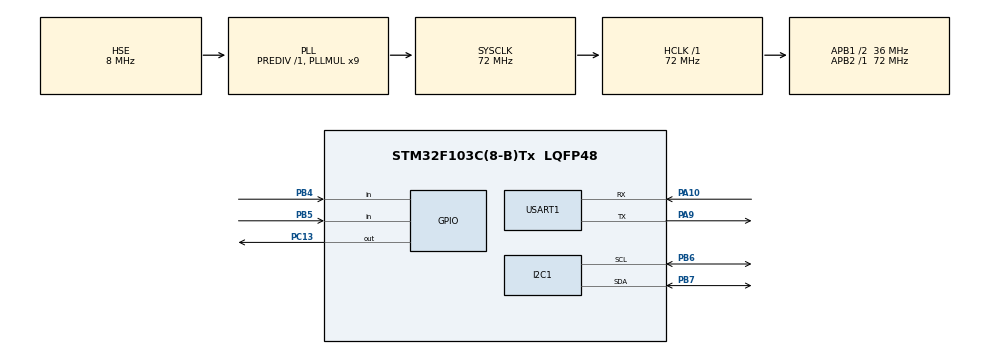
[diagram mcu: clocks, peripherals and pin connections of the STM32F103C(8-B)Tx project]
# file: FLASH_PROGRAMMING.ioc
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Mcu.Family=STM32F1
Mcu.Name=STM32F103C(8-B)Tx
Mcu.Package=LQFP48
NVIC.PriorityGroup=NVIC_PRIORITYGROUP_4
NVIC.USART1_IRQn=true\:0\:0\:false\:false\:true\:true\:true\:true
PA10.Mode=Asynchronous
PA10.Signal=USART1_RX
PA13.Mode=Serial_Wire
PA13.Signal=SYS_JTMS-SWDIO
PA14.Mode=Serial_Wire
PA14.Signal=SYS_JTCK-SWCLK
PA9.Mode=Asynchronous
PA9.Signal=USART1_TX
PB4.GPIO_PuPd=GPIO_PULLUP
PB4.Signal=GPIO_Input
PB5.GPIO_PuPd=GPIO_PULLUP
PB5.Signal=GPIO_Input
PB6.Mode=I2C
PB6.Signal=I2C1_SCL
PB7.Mode=I2C
PB7.Signal=I2C1_SDA
PC13-TAMPER-RTC.Signal=GPIO_Output
PD0-OSC_IN.Mode=HSE-External-Oscillator
PD0-OSC_IN.Signal=RCC_OSC_IN
PD1-OSC_OUT.Mode=HSE-External-Oscillator
PD1-OSC_OUT.Signal=RCC_OSC_OUT
ProjectManager.HeapSize=0x200
ProjectManager.StackSize=0x400
ProjectManager.TargetToolchain=STM32CubeIDE
RCC.AHBFreq_Value=72000000
RCC.APB1CLKDivider=RCC_HCLK_DIV2
RCC.APB1Freq_Value=36000000
RCC.APB1TimFreq_Value=72000000
RCC.APB2Freq_Value=72000000
RCC.APB2TimFreq_Value=72000000
RCC.HCLKFreq_Value=72000000
RCC.PLLMUL=RCC_PLL_MUL9
RCC.PLLSourceVirtual=RCC_PLLSOURCE_HSE
RCC.SYSCLKFreq_VALUE=72000000
RCC.SYSCLKSource=RCC_SYSCLKSOURCE_PLLCLK
RCC.USBFreq_Value=72000000
USART1.VirtualMode=VM_ASYNC
board=custom

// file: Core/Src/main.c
/* USER CODE BEGIN Header */
/**
  ******************************************************************************
  * @file           : main.c
  * @brief          : Main program body
  ******************************************************************************
  * @attention
  *
  * Copyright (c) 2023 STMicroelectronics.
  * All rights reserved.
  *
  * This software is licensed under terms that can be found in the LICENSE file
  * in the root directory of this software component.
  * If no LICENSE file comes with this software, it is provided AS-IS.
  *
  ******************************************************************************
  */
/* USER CODE END Header */
#include "main.h"

/* USER CODE BEGIN Includes */
#include <stdio.h>
#include "FLASH_PAGE_F1.h"
#include "quectelCommands.h"
#include "liquidcrystal_i2c.h"
#include "GEOtextLib.h"
#include <string.h>
#include <stdlib.h>
#include <terminalConfig.h>

#define STR_HELPER(x) #x
#define STR(x) STR_HELPER(x)

/* USER CODE END Includes */

I2C_HandleTypeDef hi2c1;

UART_HandleTypeDef huart1;

void SystemClock_Config(void);
static void MX_GPIO_Init(void);
static void MX_USART1_UART_Init(void);
static void MX_I2C1_Init(void);
/* USER CODE BEGIN PFP */
uint8_t flag = 0; // flag for operating fleshing used in UART callback
uint8_t data[bytesToRead]; // main data that need to be flehed
uint32_t Adress = address; // for address increment
uint32_t state; // for buttons
uint8_t updateChars[8]; // update char store
uint8_t MQTT_CHECK_DATA[180];
uint8_t MQTT_GOT_DATA[100];
uint8_t c; // this stores the input chars from uart to find start and the end of input data
void HAL_UART_RxCpltCallback(UART_HandleTypeDef *huart)
{

	if(flag == 0){
		if(c != '<'){
			HAL_UART_Receive_IT(&huart1, &c, 1);
		}
		else if(c == '<'){

			flag = 1;
		}

	}

}
/* USER CODE END PFP */

/* USER CODE BEGIN 0 */

uint32_t convertStringToHex(uint8_t* str) {
    uint32_t hexValue = 0;
    int i = 0;

    // Iterate over each character in the string
    while (i < 8) {
        hexValue <<= 4;  // Shift left by 4 bits

        // Convert character to hexadecimal digit
        if (str[i] >= '0' && str[i] <= '9') {
            hexValue |= (str[i] - '0');
        } else if (str[i] >= 'A' && str[i] <= 'F') {
            hexValue |= (str[i] - 'A' + 10);
        } else if (str[i] >= 'a' && str[i] <= 'f') {
            hexValue |= (str[i] - 'a' + 10);
        } else {
            // Invalid character, handle error
            //printf("Invalid character: %c\n", str[i]);
            return 0;
        }

        i++;
    }

    return hexValue;
}

char* convertNumberToCharArray(uint64_t number) {
    // Count the number of digits in the number
    uint64_t temp = number;
    int numDigits = 1;
    while (temp /= 10) {
        numDigits++;
    }

    // Allocate memory for the character array (+1 for null-terminator)
    char* buffer = (char*)malloc((numDigits + 1) * sizeof(char));
    if (buffer == NULL) {
        // Error in memory allocation
        return NULL;
    }

    // Convert each digit to its corresponding character representation
    int i = numDigits - 1;
    while (number != 0) {
        buffer[i--] = '0' + (number % 10);
        number /= 10;
    }

    buffer[numDigits] = '\0'; // Null-terminate the character array

    return buffer;
}

uint32_t convertIntToHex(int num) {
    uint32_t hexValue = 0;

    // Find the position of the leftmost non-zero bit
    int shift = 0;
    while ((num >> shift) > 0) {
        shift += 4;
    }
    shift -= 4;  // Adjust the shift value to the leftmost non-zero nibble

    // Iterate over each nibble in the integer
    while (shift >= 0) {
        hexValue |= ((num >> shift) & 0xF) << shift;  // Extract the nibble and shift it to the correct position
        shift -= 4;  // Move to the next nibble
    }

    return hexValue;
}

void fleshArray(uint8_t* array) { // takes 960 bytes of data and fleshes it at start address which is defined at start
        int count = 0;
        uint8_t data[8];
        uint32_t hexVal;
        uint32_t hexVals[4];

        int size = strlen((char*)array);

        memcpy(data, array, 8);
        hexVal = convertStringToHex(data);
        hexVals[count] = hexVal;
        count++;

    for (int i = 0; i < size; i++) {

        if((i+1) % 8 == 0){

            memcpy(data, array + (i+1), 8);
            hexVal = convertStringToHex(data);
            hexVals[count] = hexVal;

            count++;
            if(count >= 4){
                //for(int i = 0; i<4; i++) printf("%08X ", hexVals[i]);
            	Flash_Write_Data(Adress,hexVals, 4);

            	Adress+=16;
                count = 0;
            }
//
        }

    }

}

void jumpToAddress(uint32_t ADDRESSTOGO){
	  uint32_t addresstojump;

	  addresstojump = *((volatile uint32_t*)(ADDRESSTOGO + 4));
	  HAL_DeInit();
	  HAL_RCC_DeInit();
	  void (*GoToApp)(void);
	  GoToApp = (void (*) (void))addresstojump;
	  __disable_irq();
	  __set_MSP(*((volatile uint32_t*)ADDRESSTOGO));
	  GoToApp();
}

void led(uint8_t n) {
	for (uint8_t i = 0; i < n; i++) {
		HAL_GPIO_WritePin(GPIOC, GPIO_PIN_13, GPIO_PIN_RESET);    // LED1 ON
		HAL_Delay(100);
		HAL_GPIO_WritePin(GPIOC, GPIO_PIN_13, GPIO_PIN_SET);    // LED1 OFF
		HAL_Delay(100);
	}
}

void quectelInit(){
	  memset(data, 0, sizeof(data));

	 checkQueqtelWithNoEcho(data);
	  HD44780_PrintStr("#");
	  memset(data, 0, sizeof(data));

	 ckeckQuectelSignalWithNoEcho(data);
	  HD44780_PrintStr("#");
	  memset(data, 0, sizeof(data));

	 MQTTRecMod(data);
	  HD44780_PrintStr("#");
	  memset(data, 0, sizeof(data));

	 MQTTOpenPort(data);
	  HD44780_PrintStr("##");
	  memset(data, 0, sizeof(data));

	 MQTTConnect(data);
	  HD44780_PrintStr("##");
	  memset(data, 0, sizeof(data));

	 MQTTSubToTopic(data);

	  //memset(buffer, 0, sizeof(buffer));

	  //MQTTPubToTopic(buffer, MQTT_EXMP_DATA);
	  memset(data, 0, sizeof(data));

      HAL_Delay(500);
}

uint64_t * flashCurTerminal(uint64_t DATA, uint32_t ADRESS){

	uint64_t FData = DATA;

	eraseFlashRange(ADRESS, ADRESS + 1);

	HAL_FLASH_Unlock();
	HAL_FLASH_Program(FLASH_TYPEPROGRAM_DOUBLEWORD,ADRESS, FData);
	HAL_FLASH_Lock();

	uint64_t * RDAddr = (uint64_t *)  ADRESS;
	return RDAddr;
}
/* USER CODE END 0 */

int main(void)
{
  /* USER CODE BEGIN 1 */
	__disable_irq();
	SCB->VTOR = 0x8000000;
	__enable_irq();
  /* USER CODE END 1 */

  /* MCU Configuration--------------------------------------------------------*/

  /* Reset of all peripherals, Initializes the Flash interface and the Systick. */
  HAL_Init();

  /* USER CODE BEGIN Init */
 // uint32_t *ptr = data;
  /* USER CODE END Init */

  /* Configure the system clock */
  SystemClock_Config();

  /* Initialize all configured peripherals */
  MX_GPIO_Init();
  MX_USART1_UART_Init();
  MX_I2C1_Init();
  /* USER CODE BEGIN 2 */

  HD44780_Init(2);

  printItvirteba(0, 3);

//  	eraseFlashRange(GSM_signal_error_counter_address, GSM_signal_error_counter_address);
//  	HAL_FLASH_Unlock();
//	HAL_FLASH_Program(FLASH_TYPEPROGRAM_WORD, GPRS_signal_error_counter_address, 10);
//	HAL_FLASH_Lock();
//
//	eraseFlashRange(GSM_signal_error_counter_address, GSM_signal_error_counter_address);
//	HAL_FLASH_Unlock();
//	HAL_FLASH_Program(FLASH_TYPEPROGRAM_WORD, GSM_signal_error_counter_address, 4);
//	HAL_FLASH_Lock();
//
//	eraseFlashRange(versionAdress, versionAdress);
//	HAL_FLASH_Unlock();
//	HAL_FLASH_Program(versionAdress, versionAdress, 0);
//	HAL_FLASH_Lock();

  HD44780_SetCursor(0, 1);
//  for(int i = 0;i<2; i++){
//	  quectelInit();
//  }
  quectelInit();
  uint32_t * versionPTR = (uint32_t *)  versionAdress;
  uint32_t version = *versionPTR; // for version check
  uint32_t *GSM_signal_error_counter_ptr = (uint32_t *)GSM_signal_error_counter_address;
  uint32_t GSM_signal_error_counter_flash = *GSM_signal_error_counter_ptr;
  uint64_t terminalID = *flashCurTerminal(currentTerminal, currentTerminalADRR);

  uint32_t * new_programe_validity_ptr1 =  (uint32_t *)  address;
  uint32_t new_programe_validity1 = *new_programe_validity_ptr1;

  uint32_t * new_programe_validity_ptr2 =  (uint32_t *)  new_programe_validity_ptr1+1;
  uint32_t new_programe_validity2 = *new_programe_validity_ptr2;
  if(version == 0xFFFFFFFF || version == 0 || (new_programe_validity1 == 0 && new_programe_validity2 == 0)){
	  	eraseFlashRange(versionAdress, versionAdress);
		HAL_FLASH_Unlock();
		HAL_FLASH_Program(FLASH_TYPEPROGRAM_WORD,versionAdress, 1);
		HAL_FLASH_Lock();
  }
  if(GSM_signal_error_counter_flash == 0xFFFFFFFF || GSM_signal_error_counter_flash == 0){
	  	eraseFlashRange(GSM_signal_error_counter_address, GSM_signal_error_counter_address);
		HAL_FLASH_Unlock();
		HAL_FLASH_Program(FLASH_TYPEPROGRAM_WORD,GSM_signal_error_counter_address, 0);
		HAL_FLASH_Lock();
  }
  version = *versionPTR;
  GSM_signal_error_counter_flash = *GSM_signal_error_counter_ptr;

  char * terminalStr = convertNumberToCharArray(terminalID);

  //sprintf((char*) MQTT_CHECK_DATA, "{\"operationType\":\"check\",\"content\":{\"terminalID\":\"164522982240839\",\"firmwareVersion\":1}}");
  sprintf((char*)MQTT_CHECK_DATA, "{\"operationType\":\"check\",\"content\":{\"terminalID\":\"%s\",\"firmwareVersion\":%ld}}", terminalStr, version);

  sprintf((char*)MQTT_GOT_DATA, "{\"operationType\":\"acknowledge\",\"content\":{\"status\":\"success\",\"terminalID\":\"%s\"}}", terminalStr);
  MQTTPubToTopic(strlen((char*)MQTT_CHECK_DATA));

  uint8_t checkCon = 0;
  uint8_t printDownCount = 0;
  uint8_t printDownCountAcum = 0;

  HAL_UART_Transmit(&huart1, MQTT_CHECK_DATA, strlen((char*)MQTT_CHECK_DATA), 50);
  HD44780_PrintStr("#");

  HAL_UART_Receive_IT(&huart1, &c, 1);
  int T = HAL_GetTick();
 //eraseFlashRange(0x0800C000, 0x0800D2D0);

  /* USER CODE END 2 */

  /* Infinite loop */
  /* USER CODE BEGIN WHILE */
  while (1)
  {
	  if(flag == 1){
		  uint8_t flesh = 0;
		  checkCon = 1;
		  HAL_UART_Receive(&huart1, data, bytesToRead, 200);

		  if(data[0] == 'E' && data[1] == 'N' && data[2] == 'D'){ // if the data == END
			  memcpy(updateChars, data + 4, 8);
			  int x = atoi((char*)updateChars);
			  eraseFlashRange(versionAdress, versionAdress);
			  HAL_FLASH_Unlock();
			  HAL_FLASH_Program(FLASH_TYPEPROGRAM_WORD,versionAdress, x);
			  HAL_FLASH_Lock();
			  flesh = 1;
			  jumpToAddress(address);
		  }
		  if(data[0] == '2' && data[1] == '0' && data[2] == '0' && data[3] == 'R'){ // if the data == END
				eraseFlashRange(GSM_signal_error_counter_address, GSM_signal_error_counter_address);
				HAL_FLASH_Unlock();
				HAL_FLASH_Program(FLASH_TYPEPROGRAM_WORD, GSM_signal_error_counter_address, 0);
				HAL_FLASH_Lock();
				jumpToAddress(address);
		  }

		  if(data[0] == 'E' && data[1] == 'R' && data[2] == 'A' && data[3] == 'S' && data[4] == 'E'){ // if the data == END
			  printAxldeba(0, 4);
			  HD44780_SetCursor(0, 1);
			  memcpy(updateChars, data + 6, 8);
			  uint32_t endNewProg = convertStringToHex(updateChars);
			  eraseFlashRange(address, endNewProg);
			  flesh = 1;
		  }
		  if(flesh == 0){
			  fleshArray(data);
			  printDownCount++;

			  if(printDownCount > printDownCountAcum + 3){
				   HD44780_PrintStr("#");
				   printDownCountAcum = printDownCount;
			  }

		  }

		  MQTTPubToTopic(strlen((char*)MQTT_GOT_DATA));
		  HAL_UART_Transmit(&huart1, MQTT_GOT_DATA, strlen((char*)MQTT_GOT_DATA), 100);
		  //if(flesh == 1)HAL_NVIC_SystemReset();
		  memset(data, 0, sizeof(data));
		  HAL_UART_Receive_IT(&huart1, &c, 1);
		  HAL_UART_Receive_IT(&huart1, &c, 1);

		  //HAL_UART_Transmit(&huart1, data, bytesToRead + 1, 1000);
		  flag = 0;

	  }
	  state = HAL_GPIO_ReadPin (GPIOB, GPIO_PIN_4);
	  if(state == 0){
		  eraseFlashRange(0x0800C000, 0x0800D2D0);
		  led(10);
	  }
	  state = HAL_GPIO_ReadPin (GPIOB, GPIO_PIN_5);
	  if(state == 0){
		  jumpToAddress(address);
		  led(10);
	  }

	  if(checkCon == 0 && HAL_GetTick() - T >= 10000){
		  if(GSM_signal_error_counter_flash>=5){
			uint8_t reset_commnad[] = "AT+QPOWD=0\r\n";
			eraseFlashRange(GSM_signal_error_counter_address, GSM_signal_error_counter_address);
			HAL_FLASH_Unlock();
			HAL_FLASH_Program(FLASH_TYPEPROGRAM_WORD, GSM_signal_error_counter_address, 0);
			HAL_FLASH_Lock();
			HAL_UART_Transmit(&huart1, reset_commnad, 12, 200);
			HAL_NVIC_SystemReset();
		  }
		  else{
			GSM_signal_error_counter_flash++;
			eraseFlashRange(GSM_signal_error_counter_address, GSM_signal_error_counter_address);
			HAL_FLASH_Unlock();
			HAL_FLASH_Program(FLASH_TYPEPROGRAM_WORD, GSM_signal_error_counter_address, GSM_signal_error_counter_flash);
			HAL_FLASH_Lock();
			HAL_NVIC_SystemReset();
		  }

	  }
	  if(HAL_GetTick() - T >= 2*(60000))HAL_NVIC_SystemReset();
    /* USER CODE END WHILE */

  }
}

void SystemClock_Config(void)
{
  RCC_OscInitTypeDef RCC_OscInitStruct = {0};
  RCC_ClkInitTypeDef RCC_ClkInitStruct = {0};

  /** Initializes the RCC Oscillators according to the specified parameters
  * in the RCC_OscInitTypeDef structure.
  */
  RCC_OscInitStruct.OscillatorType = RCC_OSCILLATORTYPE_HSE;
  RCC_OscInitStruct.HSEState = RCC_HSE_ON;
  RCC_OscInitStruct.HSEPredivValue = RCC_HSE_PREDIV_DIV1;
  RCC_OscInitStruct.HSIState = RCC_HSI_ON;
  RCC_OscInitStruct.PLL.PLLState = RCC_PLL_ON;
  RCC_OscInitStruct.PLL.PLLSource = RCC_PLLSOURCE_HSE;
  RCC_OscInitStruct.PLL.PLLMUL = RCC_PLL_MUL9;
  if (HAL_RCC_OscConfig(&RCC_OscInitStruct) != HAL_OK)
  {
    Error_Handler();
  }

  /** Initializes the CPU, AHB and APB buses clocks
  */
  RCC_ClkInitStruct.ClockType = RCC_CLOCKTYPE_HCLK|RCC_CLOCKTYPE_SYSCLK
                              |RCC_CLOCKTYPE_PCLK1|RCC_CLOCKTYPE_PCLK2;
  RCC_ClkInitStruct.SYSCLKSource = RCC_SYSCLKSOURCE_PLLCLK;
  RCC_ClkInitStruct.AHBCLKDivider = RCC_SYSCLK_DIV1;
  RCC_ClkInitStruct.APB1CLKDivider = RCC_HCLK_DIV2;
  RCC_ClkInitStruct.APB2CLKDivider = RCC_HCLK_DIV1;

  if (HAL_RCC_ClockConfig(&RCC_ClkInitStruct, FLASH_LATENCY_2) != HAL_OK)
  {
    Error_Handler();
  }
}

static void MX_I2C1_Init(void)
{

  hi2c1.Instance = I2C1;
  hi2c1.Init.ClockSpeed = 100000;
  hi2c1.Init.DutyCycle = I2C_DUTYCYCLE_2;
  hi2c1.Init.OwnAddress1 = 0;
  hi2c1.Init.AddressingMode = I2C_ADDRESSINGMODE_7BIT;
  hi2c1.Init.DualAddressMode = I2C_DUALADDRESS_DISABLE;
  hi2c1.Init.OwnAddress2 = 0;
  hi2c1.Init.GeneralCallMode = I2C_GENERALCALL_DISABLE;
  hi2c1.Init.NoStretchMode = I2C_NOSTRETCH_DISABLE;
  if (HAL_I2C_Init(&hi2c1) != HAL_OK)
  {
    Error_Handler();
  }

}

static void MX_USART1_UART_Init(void)
{

  huart1.Instance = USART1;
  huart1.Init.BaudRate = 115200;
  huart1.Init.WordLength = UART_WORDLENGTH_8B;
  huart1.Init.StopBits = UART_STOPBITS_1;
  huart1.Init.Parity = UART_PARITY_NONE;
  huart1.Init.Mode = UART_MODE_TX_RX;
  huart1.Init.HwFlowCtl = UART_HWCONTROL_NONE;
  huart1.Init.OverSampling = UART_OVERSAMPLING_16;
  if (HAL_UART_Init(&huart1) != HAL_OK)
  {
    Error_Handler();
  }

}

static void MX_GPIO_Init(void)
{
  GPIO_InitTypeDef GPIO_InitStruct = {0};

  /* GPIO Ports Clock Enable */
  __HAL_RCC_GPIOC_CLK_ENABLE();
  __HAL_RCC_GPIOD_CLK_ENABLE();
  __HAL_RCC_GPIOA_CLK_ENABLE();
  __HAL_RCC_GPIOB_CLK_ENABLE();

  /*Configure GPIO pin Output Level */
  HAL_GPIO_WritePin(GPIOC, GPIO_PIN_13, GPIO_PIN_RESET);

  /*Configure GPIO pin : PC13 */
  GPIO_InitStruct.Pin = GPIO_PIN_13;
  GPIO_InitStruct.Mode = GPIO_MODE_OUTPUT_PP;
  GPIO_InitStruct.Pull = GPIO_NOPULL;
  GPIO_InitStruct.Speed = GPIO_SPEED_FREQ_LOW;
  HAL_GPIO_Init(GPIOC, &GPIO_InitStruct);

  /*Configure GPIO pins : PB4 PB5 */
  GPIO_InitStruct.Pin = GPIO_PIN_4|GPIO_PIN_5;
  GPIO_InitStruct.Mode = GPIO_MODE_INPUT;
  GPIO_InitStruct.Pull = GPIO_PULLUP;
  HAL_GPIO_Init(GPIOB, &GPIO_InitStruct);

}

void Error_Handler(void)
{
  __disable_irq();
  while (1)
  {
  }
}
